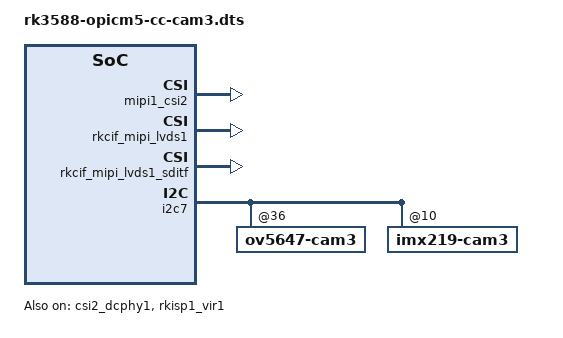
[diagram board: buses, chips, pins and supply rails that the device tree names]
// SPDX-License-Identifier: (GPL-2.0+ OR MIT)
/*
 * Enable camera path 3 on Orange Pi CM5-CC.
 *
 * Path: CSI2 C-PHY1 → MIPI1-CSI2 → RKCIF → RKVISP1
 *       I2C7 for sensor control
 *
 * Dependencies: rk3588s-orangepi-cm5-cc-camera3.dtsi (included in main DTS)
 * Compatible sensors: OV5647 (0x36), IMX219 (0x10) on I2C7
 */

/dts-v1/;
/plugin/;

/ {
	fragment@0 {
		target = <&csi2_dcphy1>;
		__overlay__ {
			status = "okay";
		};
	};

	fragment@1 {
		target = <&mipi1_csi2>;
		__overlay__ {
			status = "okay";
		};
	};

	fragment@2 {
		target = <&rkcif_mipi_lvds1>;
		__overlay__ {
			status = "okay";
		};
	};

	fragment@3 {
		target = <&rkcif_mipi_lvds1_sditf>;
		__overlay__ {
			status = "okay";
		};
	};

	fragment@4 {
		target = <&rkisp1_vir1>;
		__overlay__ {
			status = "okay";
		};
	};

	fragment@5 {
		target = <&i2c7>;
		__overlay__ {
			status = "okay";

			ov5647-cam3@36 {
				status = "okay";
			};

			imx219-cam3@10 {
				status = "okay";
			};
		};
	};
};
